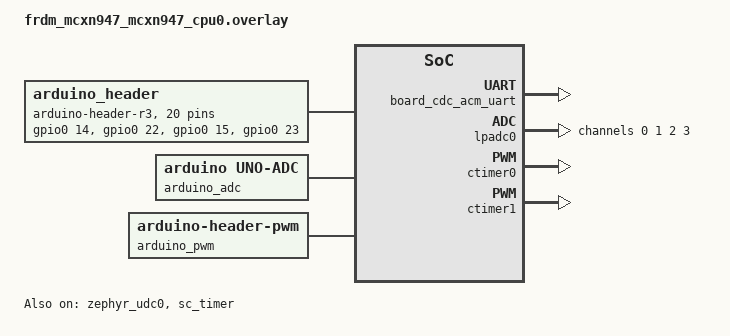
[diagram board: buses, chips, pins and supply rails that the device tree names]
/*
 * Copyright (c) Arduino s.r.l. and/or its affiliated companies
 *
 * SPDX-License-Identifier: Apache-2.0
 */

#include <zephyr/dt-bindings/gpio/arduino-header-r3.h>
#include <zephyr/dt-bindings/adc/adc.h>
#include <zephyr/dt-bindings/adc/mcux-lpadc.h>

&zephyr_udc0 {
	status = "okay";
	board_cdc_acm_uart: board_cdc_acm_uart {
		compatible = "zephyr,cdc-acm-uart";
		status = "okay";
	};
};

&flash {
	partitions {
		compatible = "fixed-partitions";
		#address-cells = <1>;
		#size-cells = <1>;

		user_sketch: partition@F0000 {
			reg = <0xF0000 DT_SIZE_K(56)>;
		};
	};
};

/ {
	zephyr,user {
		cdc-acm-serial = <&board_cdc_acm_uart>; /* 'Serial' object is managed by SerialUSB */
	};

	arduino_header: arduino-connector {
		compatible = "arduino-header-r3";
		#gpio-cells = <2>;
		gpio-map-mask = <0xffffffff 0xffffffc0>;
		gpio-map-pass-thru = <0 0x3f>;
		gpio-map = <ARDUINO_HEADER_R3_A2 0 &gpio0 14 0>,
			   <ARDUINO_HEADER_R3_A3 0 &gpio0 22 0>,
			   <ARDUINO_HEADER_R3_A4 0 &gpio0 15 0>,
			   <ARDUINO_HEADER_R3_A5 0 &gpio0 23 0>,
			   <ARDUINO_HEADER_R3_D0 0 &gpio4 3 0>,   /* RX */
			   <ARDUINO_HEADER_R3_D1 0 &gpio4 2 0>,   /* TX */
			   <ARDUINO_HEADER_R3_D2 0 &gpio0 29 0>,
			   <ARDUINO_HEADER_R3_D3 0 &gpio1 23 0>,
			   <ARDUINO_HEADER_R3_D4 0 &gpio0 30 0>,
			   <ARDUINO_HEADER_R3_D5 0 &gpio1 21 0>,
			   <ARDUINO_HEADER_R3_D6 0 &gpio1 2 0>,
			   <ARDUINO_HEADER_R3_D7 0 &gpio0 31 0>,
			   <ARDUINO_HEADER_R3_D8 0 &gpio0 28 0>,
			   <ARDUINO_HEADER_R3_D9 0 &gpio0 10 0>,
			   <ARDUINO_HEADER_R3_D10 0 &gpio0 27 0>, /* CS */
			   <ARDUINO_HEADER_R3_D11 0 &gpio0 24 0>, /* MOSI */
			   <ARDUINO_HEADER_R3_D12 0 &gpio0 26 0>, /* MISO */
			   <ARDUINO_HEADER_R3_D13 0 &gpio0 25 0>, /* SCK */
			   <ARDUINO_HEADER_R3_D14 0 &gpio4 0 0>,  /* SDA */
			   <ARDUINO_HEADER_R3_D15 0 &gpio4 1 0>;  /* SCL */
	};

	/*
	 * Arduino analog header A2..A5 -> LPADC0 (per FRDM-MCXN947 mapping):
	 *   A2 = PIO0_14 = ADC0_B14   A3 = PIO0_22 = ADC0_A14
	 *   A4 = PIO0_15 = ADC0_B15   A5 = PIO0_23 = ADC0_A15
	 * A0/A1 are not routed to ADC on this board's Arduino header.
	 */
	arduino_adc: analog-connector {
		compatible = "arduino,uno-adc";
		#io-channel-cells = <1>;
		io-channel-map = <ARDUINO_HEADER_R3_A2 &lpadc0 0>,
				 <ARDUINO_HEADER_R3_A3 &lpadc0 1>,
				 <ARDUINO_HEADER_R3_A4 &lpadc0 2>,
				 <ARDUINO_HEADER_R3_A5 &lpadc0 3>;
	};

	/*
	 * Arduino PWM pins on FRDM-MCXN947 (classic D3/D5/D6/D9, none of which
	 * overlap the I2C/SPI/UART pins). D6/D9 are also the on-board blue/red
	 * LEDs (disabled by default), so analogWrite() fades those LEDs.
	 *   D3 = PIO1_23 = SCT0_OUT5    D5 = PIO1_21 = SCT0_OUT9
	 *   D6 = PIO1_2  = CT1_MAT0     D9 = PIO0_10 = CT0_MAT0
	 */
	arduino_pwm: pwm-connector {
		compatible = "arduino-header-pwm";
		#pwm-cells = <3>;
		pwm-map-mask = <0xffffffff 0x0 0x0>;
		pwm-map-pass-thru = <0x0 0xffffffff 0xffffffff>;
		pwm-map = <ARDUINO_HEADER_R3_D3 0 0 &sc_timer 5 0 0>,
			  <ARDUINO_HEADER_R3_D5 0 0 &sc_timer 9 0 0>,
			  <ARDUINO_HEADER_R3_D6 0 0 &ctimer1_pwm 0 0 0>,
			  <ARDUINO_HEADER_R3_D9 0 0 &ctimer0_pwm 0 0 0>;
	};
};

&lpadc0 {
	#address-cells = <1>;
	#size-cells = <0>;

	channel@0 {	/* A2 */
		reg = <0>;
		zephyr,gain = "ADC_GAIN_1";
		zephyr,reference = "ADC_REF_EXTERNAL0";
		zephyr,vref-mv = <3300>;
		zephyr,acquisition-time = <ADC_ACQ_TIME_DEFAULT>;
		zephyr,resolution = <12>;
		zephyr,input-positive = <MCUX_LPADC_CH14B>;
	};

	channel@1 {	/* A3 */
		reg = <1>;
		zephyr,gain = "ADC_GAIN_1";
		zephyr,reference = "ADC_REF_EXTERNAL0";
		zephyr,vref-mv = <3300>;
		zephyr,acquisition-time = <ADC_ACQ_TIME_DEFAULT>;
		zephyr,resolution = <12>;
		zephyr,input-positive = <MCUX_LPADC_CH14A>;
	};

	channel@2 {	/* A4 */
		reg = <2>;
		zephyr,gain = "ADC_GAIN_1";
		zephyr,reference = "ADC_REF_EXTERNAL0";
		zephyr,vref-mv = <3300>;
		zephyr,acquisition-time = <ADC_ACQ_TIME_DEFAULT>;
		zephyr,resolution = <12>;
		zephyr,input-positive = <MCUX_LPADC_CH15B>;
	};

	channel@3 {	/* A5 */
		reg = <3>;
		zephyr,gain = "ADC_GAIN_1";
		zephyr,reference = "ADC_REF_EXTERNAL0";
		zephyr,vref-mv = <3300>;
		zephyr,acquisition-time = <ADC_ACQ_TIME_DEFAULT>;
		zephyr,resolution = <12>;
		zephyr,input-positive = <MCUX_LPADC_CH15A>;
	};
};

/* PWM pin routing for the arduino_pwm connector */
&pinctrl {
	pinmux_ctimer0_arduino: pinmux_ctimer0_arduino {
		group0 {
			pinmux = <CT0_MAT0_PIO0_10>;	/* D9 */
			slew-rate = "fast";
			drive-strength = "low";
		};
	};

	pinmux_ctimer1_arduino: pinmux_ctimer1_arduino {
		group0 {
			pinmux = <CT1_MAT0_PIO1_2>;	/* D6 */
			slew-rate = "fast";
			drive-strength = "low";
		};
	};

	pinmux_sctimer_arduino: pinmux_sctimer_arduino {
		group0 {
			pinmux = <SCT0_OUT5_PIO1_23>,	/* D3 */
				 <SCT0_OUT9_PIO1_21>;	/* D5 */
			slew-rate = "fast";
			drive-strength = "low";
		};
	};
};

ctimer0_pwm: &ctimer0 {
	compatible = "nxp,ctimer-pwm";
	status = "okay";
	clk-source = <1>;
	clocks = <&syscon MCUX_CTIMER0_CLK>;
	prescaler = <0>;
	pinctrl-0 = <&pinmux_ctimer0_arduino>;
	pinctrl-names = "default";
	#pwm-cells = <3>;
};

ctimer1_pwm: &ctimer1 {
	compatible = "nxp,ctimer-pwm";
	status = "okay";
	clk-source = <1>;
	clocks = <&syscon MCUX_CTIMER1_CLK>;
	prescaler = <0>;
	pinctrl-0 = <&pinmux_ctimer1_arduino>;
	pinctrl-names = "default";
	#pwm-cells = <3>;
};

&sc_timer {
	status = "okay";
	pinctrl-0 = <&pinmux_sctimer_arduino>;
	pinctrl-names = "default";
};

arduino_spi: &flexcomm1_lpspi1 {};
arduino_i2c: &flexcomm2_lpi2c2 {};
arduino_serial: &flexcomm2_lpuart2 {};
